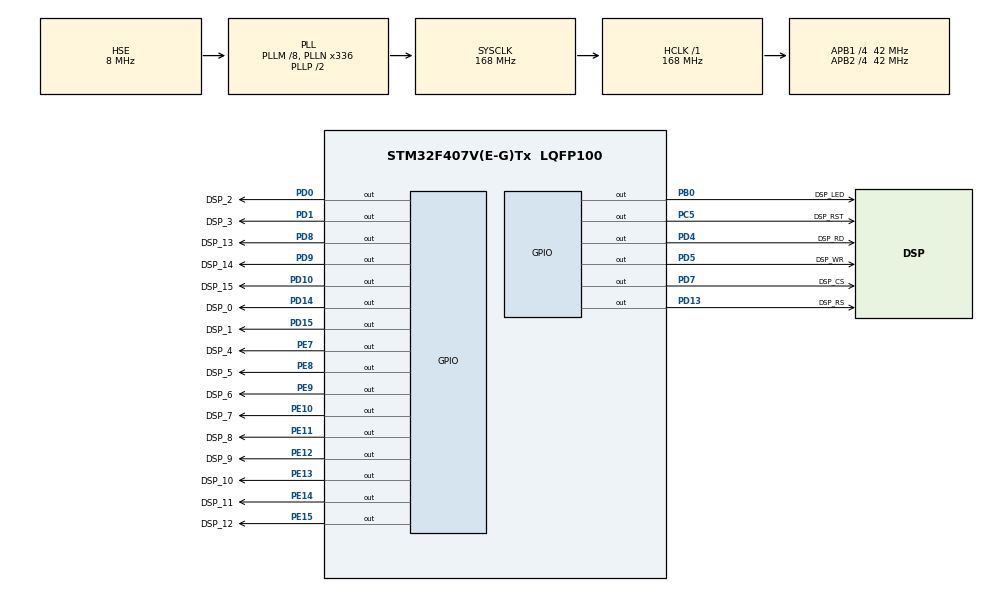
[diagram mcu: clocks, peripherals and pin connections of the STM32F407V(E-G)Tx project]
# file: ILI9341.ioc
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Mcu.Family=STM32F4
Mcu.Name=STM32F407V(E-G)Tx
Mcu.Package=LQFP100
NVIC.PriorityGroup=NVIC_PRIORITYGROUP_4
PB0.GPIO_Label=DSP_LED
PB0.Signal=GPIO_Output
PC5.GPIO_Label=DSP_RST
PC5.Signal=GPIO_Output
PD0.GPIO_Label=DSP_2
PD0.GPIO_ModeDefaultOutputPP=GPIO_MODE_OUTPUT_PP
PD0.GPIO_PuPd=GPIO_NOPULL
PD0.GPIO_Speed=GPIO_SPEED_FREQ_VERY_HIGH
PD0.Signal=GPIO_Output
PD1.GPIO_Label=DSP_3
PD1.GPIO_ModeDefaultOutputPP=GPIO_MODE_OUTPUT_PP
PD1.GPIO_PuPd=GPIO_NOPULL
PD1.GPIO_Speed=GPIO_SPEED_FREQ_VERY_HIGH
PD1.Signal=GPIO_Output
PD10.GPIO_Label=DSP_15
PD10.GPIO_ModeDefaultOutputPP=GPIO_MODE_OUTPUT_PP
PD10.GPIO_PuPd=GPIO_NOPULL
PD10.GPIO_Speed=GPIO_SPEED_FREQ_VERY_HIGH
PD10.Signal=GPIO_Output
PD13.GPIO_Label=DSP_RS
PD13.Signal=GPIO_Output
PD14.GPIO_Label=DSP_0
PD14.GPIO_ModeDefaultOutputPP=GPIO_MODE_OUTPUT_PP
PD14.GPIO_PuPd=GPIO_NOPULL
PD14.GPIO_Speed=GPIO_SPEED_FREQ_VERY_HIGH
PD14.Signal=GPIO_Output
PD15.GPIO_Label=DSP_1
PD15.GPIO_ModeDefaultOutputPP=GPIO_MODE_OUTPUT_PP
PD15.GPIO_PuPd=GPIO_NOPULL
PD15.GPIO_Speed=GPIO_SPEED_FREQ_VERY_HIGH
PD15.Signal=GPIO_Output
PD4.GPIO_Label=DSP_RD
PD4.Signal=GPIO_Output
PD5.GPIO_Label=DSP_WR
PD5.Signal=GPIO_Output
PD7.GPIO_Label=DSP_CS
PD7.Signal=GPIO_Output
PD8.GPIO_Label=DSP_13
PD8.GPIO_ModeDefaultOutputPP=GPIO_MODE_OUTPUT_PP
PD8.GPIO_PuPd=GPIO_NOPULL
PD8.GPIO_Speed=GPIO_SPEED_FREQ_VERY_HIGH
PD8.Signal=GPIO_Output
PD9.GPIO_Label=DSP_14
PD9.GPIO_ModeDefaultOutputPP=GPIO_MODE_OUTPUT_PP
PD9.GPIO_PuPd=GPIO_NOPULL
PD9.GPIO_Speed=GPIO_SPEED_FREQ_VERY_HIGH
PD9.Signal=GPIO_Output
PE10.GPIO_Label=DSP_7
PE10.GPIO_ModeDefaultOutputPP=GPIO_MODE_OUTPUT_PP
PE10.GPIO_PuPd=GPIO_NOPULL
PE10.GPIO_Speed=GPIO_SPEED_FREQ_VERY_HIGH
PE10.PinState=GPIO_PIN_RESET
PE10.Signal=GPIO_Output
PE11.GPIO_Label=DSP_8
PE11.GPIO_ModeDefaultOutputPP=GPIO_MODE_OUTPUT_PP
PE11.GPIO_PuPd=GPIO_NOPULL
PE11.GPIO_Speed=GPIO_SPEED_FREQ_VERY_HIGH
PE11.PinState=GPIO_PIN_RESET
PE11.Signal=GPIO_Output
PE12.GPIO_Label=DSP_9
PE12.GPIO_ModeDefaultOutputPP=GPIO_MODE_OUTPUT_PP
PE12.GPIO_PuPd=GPIO_NOPULL
PE12.GPIO_Speed=GPIO_SPEED_FREQ_VERY_HIGH
PE12.PinState=GPIO_PIN_RESET
PE12.Signal=GPIO_Output
PE13.GPIO_Label=DSP_10
PE13.GPIO_ModeDefaultOutputPP=GPIO_MODE_OUTPUT_PP
PE13.GPIO_PuPd=GPIO_NOPULL
PE13.GPIO_Speed=GPIO_SPEED_FREQ_VERY_HIGH
PE13.PinState=GPIO_PIN_RESET
PE13.Signal=GPIO_Output
PE14.GPIO_Label=DSP_11
PE14.GPIO_ModeDefaultOutputPP=GPIO_MODE_OUTPUT_PP
PE14.GPIO_PuPd=GPIO_NOPULL
PE14.GPIO_Speed=GPIO_SPEED_FREQ_VERY_HIGH
PE14.PinState=GPIO_PIN_RESET
PE14.Signal=GPIO_Output
PE15.GPIO_Label=DSP_12
PE15.GPIO_ModeDefaultOutputPP=GPIO_MODE_OUTPUT_PP
PE15.GPIO_PuPd=GPIO_NOPULL
PE15.GPIO_Speed=GPIO_SPEED_FREQ_VERY_HIGH
PE15.PinState=GPIO_PIN_RESET
PE15.Signal=GPIO_Output
PE7.GPIO_Label=DSP_4
PE7.GPIO_ModeDefaultOutputPP=GPIO_MODE_OUTPUT_PP
PE7.GPIO_PuPd=GPIO_NOPULL
PE7.GPIO_Speed=GPIO_SPEED_FREQ_VERY_HIGH
PE7.PinState=GPIO_PIN_RESET
PE7.Signal=GPIO_Output
PE8.GPIO_Label=DSP_5
PE8.GPIO_ModeDefaultOutputPP=GPIO_MODE_OUTPUT_PP
PE8.GPIO_PuPd=GPIO_NOPULL
PE8.GPIO_Speed=GPIO_SPEED_FREQ_VERY_HIGH
PE8.PinState=GPIO_PIN_RESET
PE8.Signal=GPIO_Output
PE9.GPIO_Label=DSP_6
PE9.GPIO_ModeDefaultOutputPP=GPIO_MODE_OUTPUT_PP
PE9.GPIO_PuPd=GPIO_NOPULL
PE9.GPIO_Speed=GPIO_SPEED_FREQ_VERY_HIGH
PE9.PinState=GPIO_PIN_RESET
PE9.Signal=GPIO_Output
PH0-OSC_IN.Mode=HSE-External-Oscillator
PH0-OSC_IN.Signal=RCC_OSC_IN
PH1-OSC_OUT.Mode=HSE-External-Oscillator
PH1-OSC_OUT.Signal=RCC_OSC_OUT
ProjectManager.HeapSize=0x200
ProjectManager.StackSize=0x400
ProjectManager.TargetToolchain=Makefile
RCC.48MHZClocksFreq_Value=84000000
RCC.AHBFreq_Value=168000000
RCC.APB1CLKDivider=RCC_HCLK_DIV4
RCC.APB1Freq_Value=42000000
RCC.APB1TimFreq_Value=84000000
RCC.APB2CLKDivider=RCC_HCLK_DIV4
RCC.APB2Freq_Value=42000000
RCC.APB2TimFreq_Value=84000000
RCC.CortexFreq_Value=168000000
RCC.HCLKFreq_Value=168000000
RCC.HSE_VALUE=8000000
RCC.HSI_VALUE=16000000
RCC.LSE_VALUE=32768
RCC.PLLM=8
RCC.PLLN=336
RCC.PLLSourceVirtual=RCC_PLLSOURCE_HSE
RCC.SYSCLKFreq_VALUE=168000000
RCC.SYSCLKSource=RCC_SYSCLKSOURCE_PLLCLK
RCC.VCOOutputFreq_Value=336000000
board=ILI9341

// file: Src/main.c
#include "main.h"
#include "stm32f4xx_hal.h"

/* USER CODE BEGIN Includes */
#include "tft9341.h"
#include "myimage.h"
/* USER CODE END Includes */

/* USER CODE BEGIN PV */
/* Private variables ---------------------------------------------------------*/
extern uint16_t BACK_COLOR,POINT_COLOR;
extern uint16_t tft_W;
extern uint16_t tft_H;
/* USER CODE END PV */

void SystemClock_Config(void);
static void MX_GPIO_Init(void);

/* USER CODE BEGIN PFP */
/* Private function prototypes -----------------------------------------------*/

/* USER CODE END PFP */

int main(void)
{

  /* MCU Configuration----------------------------------------------------------*/

  /* Reset of all peripherals, Initializes the Flash interface and the Systick. */
  HAL_Init();

  /* Configure the system clock */
  SystemClock_Config();

  /* Initialize all configured peripherals */
  MX_GPIO_Init();

  /* USER CODE BEGIN 2 */
  tft_init();
  tft_SetRotation(0);
  tft_clear(COLOR_BLACK);
  tft_draw_line(120,0,120,tft_W,COLOR_GREEN);
  tft_draw_circle(200,120,120,COLOR_VIOLET);
  tft_draw_rectangle(tft_H-20,0,tft_H,tft_W,COLOR_RED);
  tft_fill(tft_H-19,1,tft_H-1,tft_W-1,COLOR_YELLOW);
  BACK_COLOR=COLOR_RED;
  POINT_COLOR=COLOR_BLUE;
  tft_putchar(0,0,'A',TFT_STRING_MODE_NO_BACKGROUND);
  POINT_COLOR=COLOR_GREEN;
  tft_puts14x24(15,0,(int8_t*)"hi guys",TFT_STRING_MODE_NO_BACKGROUND);
  tft_puts14x24(40,0,(int8_t*)"brianx",TFT_STRING_MODE_NO_BACKGROUND);
  tft_puts14x24(70,0,(int8_t*)"Fleck",TFT_STRING_MODE_NO_BACKGROUND);
  tft_puts14x24(100,0,(int8_t*)"STM32F407",TFT_STRING_MODE_NO_BACKGROUND);

  //tft_puts_image_pos(zzz, 240, 0, 240, 320);
  tft_puts_image_pos(qqq, 0,0,240,320);
  HAL_Delay(1000);
  POINT_COLOR=COLOR_YELLOW;
  tft_puts26x48(200,10,(int8_t*)"STM32F407",TFT_STRING_MODE_NO_BACKGROUND);
  /* USER CODE END 2 */

  /* Infinite loop */
  /* USER CODE BEGIN WHILE */
  while (1)
  {
    //  tft_puts_image(qqq);
    //  HAL_Delay(2000);
    //  tft_puts_image(aaa);
    //  HAL_Delay(2000);
    //  tft_puts_image(ddd);
    //  HAL_Delay(2000);
    //  tft_puts_image(zzz);
    //  HAL_Delay(2000);
    //  tft_puts_image(ttt);
    //  HAL_Delay(2000);
    //  tft_puts_image(nnn);
    //  HAL_Delay(2000);
  /* USER CODE END WHILE */

  }

}

/** System Clock Configuration
*/
void SystemClock_Config(void)
{

  RCC_OscInitTypeDef RCC_OscInitStruct;
  RCC_ClkInitTypeDef RCC_ClkInitStruct;

    /**Configure the main internal regulator output voltage
    */
  __HAL_RCC_PWR_CLK_ENABLE();

  __HAL_PWR_VOLTAGESCALING_CONFIG(PWR_REGULATOR_VOLTAGE_SCALE1);

    /**Initializes the CPU, AHB and APB busses clocks
    */
  RCC_OscInitStruct.OscillatorType = RCC_OSCILLATORTYPE_HSE;
  RCC_OscInitStruct.HSEState = RCC_HSE_ON;
  RCC_OscInitStruct.PLL.PLLState = RCC_PLL_ON;
  RCC_OscInitStruct.PLL.PLLSource = RCC_PLLSOURCE_HSE;
  RCC_OscInitStruct.PLL.PLLM = 8;
  RCC_OscInitStruct.PLL.PLLN = 336;
  RCC_OscInitStruct.PLL.PLLP = RCC_PLLP_DIV2;
  RCC_OscInitStruct.PLL.PLLQ = 4;
  if (HAL_RCC_OscConfig(&RCC_OscInitStruct) != HAL_OK)
  {
    _Error_Handler(__FILE__, __LINE__);
  }

    /**Initializes the CPU, AHB and APB busses clocks
    */
  RCC_ClkInitStruct.ClockType = RCC_CLOCKTYPE_HCLK|RCC_CLOCKTYPE_SYSCLK
                              |RCC_CLOCKTYPE_PCLK1|RCC_CLOCKTYPE_PCLK2;
  RCC_ClkInitStruct.SYSCLKSource = RCC_SYSCLKSOURCE_PLLCLK;
  RCC_ClkInitStruct.AHBCLKDivider = RCC_SYSCLK_DIV1;
  RCC_ClkInitStruct.APB1CLKDivider = RCC_HCLK_DIV4;
  RCC_ClkInitStruct.APB2CLKDivider = RCC_HCLK_DIV4;

  if (HAL_RCC_ClockConfig(&RCC_ClkInitStruct, FLASH_LATENCY_5) != HAL_OK)
  {
    _Error_Handler(__FILE__, __LINE__);
  }

    /**Configure the Systick interrupt time
    */
  HAL_SYSTICK_Config(HAL_RCC_GetHCLKFreq()/1000);

    /**Configure the Systick
    */
  HAL_SYSTICK_CLKSourceConfig(SYSTICK_CLKSOURCE_HCLK);

  /* SysTick_IRQn interrupt configuration */
  HAL_NVIC_SetPriority(SysTick_IRQn, 0, 0);
}

/** Configure pins as
        * Analog
        * Input
        * Output
        * EVENT_OUT
        * EXTI
*/
static void MX_GPIO_Init(void)
{

  GPIO_InitTypeDef GPIO_InitStruct;

  /* GPIO Ports Clock Enable */
  __HAL_RCC_GPIOH_CLK_ENABLE();
  __HAL_RCC_GPIOC_CLK_ENABLE();
  __HAL_RCC_GPIOB_CLK_ENABLE();
  __HAL_RCC_GPIOE_CLK_ENABLE();
  __HAL_RCC_GPIOD_CLK_ENABLE();

  /*Configure GPIO pin Output Level */
  HAL_GPIO_WritePin(DSP_RST_GPIO_Port, DSP_RST_Pin, GPIO_PIN_RESET);

  /*Configure GPIO pin Output Level */
  HAL_GPIO_WritePin(DSP_LED_GPIO_Port, DSP_LED_Pin, GPIO_PIN_RESET);

  /*Configure GPIO pin Output Level */
  HAL_GPIO_WritePin(GPIOE, DSP_4_Pin|DSP_5_Pin|DSP_6_Pin|DSP_7_Pin
                          |DSP_8_Pin|DSP_9_Pin|DSP_10_Pin|DSP_11_Pin
                          |DSP_12_Pin, GPIO_PIN_RESET);

  /*Configure GPIO pin Output Level */
  HAL_GPIO_WritePin(GPIOD, DSP_13_Pin|DSP_14_Pin|DSP_15_Pin|DSP_RS_Pin
                          |DSP_0_Pin|DSP_1_Pin|DSP_2_Pin|DSP_3_Pin
                          |DSP_RD_Pin|DSP_WR_Pin|DSP_CS_Pin, GPIO_PIN_RESET);

  /*Configure GPIO pin : DSP_RST_Pin */
  GPIO_InitStruct.Pin = DSP_RST_Pin;
  GPIO_InitStruct.Mode = GPIO_MODE_OUTPUT_PP;
  GPIO_InitStruct.Pull = GPIO_NOPULL;
  GPIO_InitStruct.Speed = GPIO_SPEED_FREQ_LOW;
  HAL_GPIO_Init(DSP_RST_GPIO_Port, &GPIO_InitStruct);

  /*Configure GPIO pin : DSP_LED_Pin */
  GPIO_InitStruct.Pin = DSP_LED_Pin;
  GPIO_InitStruct.Mode = GPIO_MODE_OUTPUT_PP;
  GPIO_InitStruct.Pull = GPIO_NOPULL;
  GPIO_InitStruct.Speed = GPIO_SPEED_FREQ_LOW;
  HAL_GPIO_Init(DSP_LED_GPIO_Port, &GPIO_InitStruct);

  /*Configure GPIO pins : DSP_4_Pin DSP_5_Pin DSP_6_Pin DSP_7_Pin
                           DSP_8_Pin DSP_9_Pin DSP_10_Pin DSP_11_Pin
                           DSP_12_Pin */
  GPIO_InitStruct.Pin = DSP_4_Pin|DSP_5_Pin|DSP_6_Pin|DSP_7_Pin
                          |DSP_8_Pin|DSP_9_Pin|DSP_10_Pin|DSP_11_Pin
                          |DSP_12_Pin;
  GPIO_InitStruct.Mode = GPIO_MODE_OUTPUT_PP;
  GPIO_InitStruct.Pull = GPIO_NOPULL;
  GPIO_InitStruct.Speed = GPIO_SPEED_FREQ_VERY_HIGH;
  HAL_GPIO_Init(GPIOE, &GPIO_InitStruct);

  /*Configure GPIO pins : DSP_13_Pin DSP_14_Pin DSP_15_Pin DSP_0_Pin
                           DSP_1_Pin DSP_2_Pin DSP_3_Pin */
  GPIO_InitStruct.Pin = DSP_13_Pin|DSP_14_Pin|DSP_15_Pin|DSP_0_Pin
                          |DSP_1_Pin|DSP_2_Pin|DSP_3_Pin;
  GPIO_InitStruct.Mode = GPIO_MODE_OUTPUT_PP;
  GPIO_InitStruct.Pull = GPIO_NOPULL;
  GPIO_InitStruct.Speed = GPIO_SPEED_FREQ_VERY_HIGH;
  HAL_GPIO_Init(GPIOD, &GPIO_InitStruct);

  /*Configure GPIO pins : DSP_RS_Pin DSP_RD_Pin DSP_WR_Pin DSP_CS_Pin */
  GPIO_InitStruct.Pin = DSP_RS_Pin|DSP_RD_Pin|DSP_WR_Pin|DSP_CS_Pin;
  GPIO_InitStruct.Mode = GPIO_MODE_OUTPUT_PP;
  GPIO_InitStruct.Pull = GPIO_NOPULL;
  GPIO_InitStruct.Speed = GPIO_SPEED_FREQ_LOW;
  HAL_GPIO_Init(GPIOD, &GPIO_InitStruct);

}

void _Error_Handler(char * file, int line)
{
  while(1)
  {
  }
}

/************************ (C) COPYRIGHT STMicroelectronics *****END OF FILE****/
